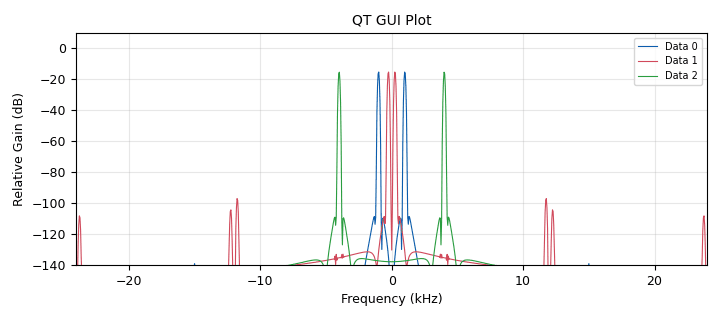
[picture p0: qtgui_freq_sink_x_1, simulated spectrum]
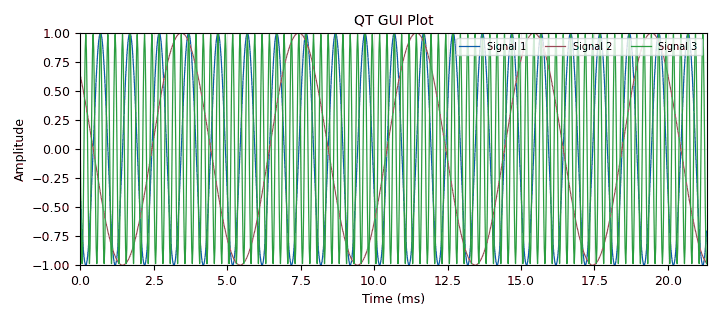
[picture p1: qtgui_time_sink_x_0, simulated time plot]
options:
  parameters:
    author: MiguelBuitrago_JeanRodrigez
    copyright: UIS
    generate_options: qt_gui
    id: Practica1Parte2
    output_language: python
    title: Parte2
  states: {}

blocks:
- name: samp_rate
  id: variable
  parameters:
    value: 48e3
  states: {}
- name: analog_sig_source_x_0
  id: analog_sig_source_x
  parameters:
    amp: '1'
    freq: 1E3
    offset: '0'
    phase: '0'
    samp_rate: samp_rate
    type: float
    waveform: analog.GR_COS_WAVE
  states: {}
- name: analog_sig_source_x_1
  id: analog_sig_source_x
  parameters:
    amp: '1'
    freq: 40e3
    offset: '0'
    phase: '0'
    samp_rate: samp_rate
    type: float
    waveform: analog.GR_COS_WAVE
  states: {state: disabled}
- name: analog_sig_source_x_2
  id: analog_sig_source_x
  parameters:
    amp: '1'
    freq: 15e3
    offset: '0'
    phase: '0'
    samp_rate: samp_rate
    type: float
    waveform: analog.GR_COS_WAVE
  states: {state: disabled}
- name: blocks_throttle_0
  id: blocks_throttle
  parameters:
    samples_per_second: samp_rate
    type: float
  states: {}
- name: qtgui_freq_sink_x_1
  id: qtgui_freq_sink_x
  parameters:
    bw: samp_rate
    fc: '0'
    fftsize: '1024'
    name: QT GUI Plot
    nconnections: '3'
    type: float
    wintype: firdes.WIN_BLACKMAN_hARRIS
  states: {}
- name: qtgui_time_sink_x_0
  id: qtgui_time_sink_x
  parameters:
    name: QT GUI Plot
    nconnections: '3'
    size: '1024'
    srate: samp_rate
    type: float
  states: {}
- name: rational_resampler_xxx_0
  id: rational_resampler_xxx
  parameters:
    decim: '1'
    fbw: '0.1'
    interp: '1'
    taps: ''
    type: fff
  states: {}
- name: rational_resampler_xxx_1
  id: rational_resampler_xxx
  parameters:
    decim: '1'
    fbw: '0.1'
    interp: '4'
    taps: ''
    type: fff
  states: {}
- name: rational_resampler_xxx_2
  id: rational_resampler_xxx
  parameters:
    decim: '4'
    fbw: '0.1'
    interp: '1'
    taps: ''
    type: fff
  states: {}

connections:
- [analog_sig_source_x_0, '0', rational_resampler_xxx_0, '0']
- [analog_sig_source_x_0, '0', rational_resampler_xxx_1, '0']
- [analog_sig_source_x_0, '0', rational_resampler_xxx_2, '0']
- [analog_sig_source_x_1, '0', rational_resampler_xxx_1, '0']
- [analog_sig_source_x_2, '0', rational_resampler_xxx_2, '0']
- [blocks_throttle_0, '0', qtgui_freq_sink_x_1, '0']
- [blocks_throttle_0, '0', qtgui_time_sink_x_0, '0']
- [rational_resampler_xxx_0, '0', blocks_throttle_0, '0']
- [rational_resampler_xxx_1, '0', qtgui_freq_sink_x_1, '1']
- [rational_resampler_xxx_1, '0', qtgui_time_sink_x_0, '1']
- [rational_resampler_xxx_2, '0', qtgui_freq_sink_x_1, '2']
- [rational_resampler_xxx_2, '0', qtgui_time_sink_x_0, '2']

metadata:
  file_format: 1
